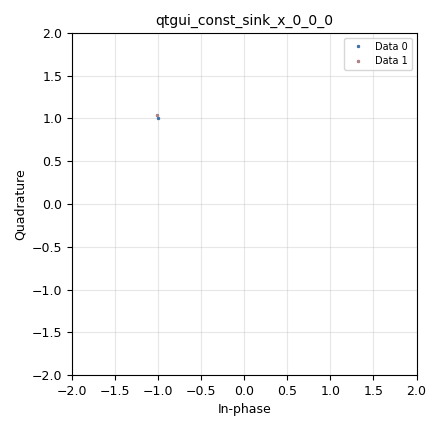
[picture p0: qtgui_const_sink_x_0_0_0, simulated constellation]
options:
  parameters:
    author: yabool2001
    copyright: mzemlo.pl@gmail.com
    description: 38. QPSK Signal Generation in GNU Radio-2 test1
    generate_options: qt_gui
    id: udemy_Moazzam_38_QPSK_test1
    output_language: python
    title: udemy Moazzam 38 QPSK test1
  states: {}

blocks:
- name: samp_rate
  id: variable
  parameters:
    value: '32000'
  states: {}
- name: analog_noise_source_x_0_0
  id: analog_noise_source_x
  parameters:
    amp: '0.05'
    noise_type: analog.GR_GAUSSIAN
    seed: '0'
    type: complex
  states: {}
- name: blocks_add_xx_0_0
  id: blocks_add_xx
  parameters:
    type: complex
  states: {}
- name: blocks_repeat_0
  id: blocks_repeat
  parameters:
    interp: '1000'
    type: complex
  states: {}
- name: blocks_throttle2_0_0
  id: blocks_throttle2
  parameters:
    samples_per_second: samp_rate
    type: complex
  states: {}
- name: blocks_vector_source_x_0_1
  id: blocks_vector_source_x
  parameters:
    repeat: 'True'
    type: complex
    vector: '[-1 - 1j, 1 - 1j, 1 + 1j, -1 + 1j]'
  states: {}
- name: qtgui_const_sink_x_0_0_0
  id: qtgui_const_sink_x
  parameters:
    nconnections: '2'
    size: '1'
    type: complex
    update_time: '1'
  states: {}

connections:
- [analog_noise_source_x_0_0, '0', blocks_add_xx_0_0, '1']
- [blocks_add_xx_0_0, '0', qtgui_const_sink_x_0_0_0, '1']
- [blocks_repeat_0, '0', blocks_add_xx_0_0, '0']
- [blocks_repeat_0, '0', qtgui_const_sink_x_0_0_0, '0']
- [blocks_throttle2_0_0, '0', blocks_repeat_0, '0']
- [blocks_vector_source_x_0_1, '0', blocks_throttle2_0_0, '0']

metadata:
  file_format: 1
  grc_version: 3.10.10.0
